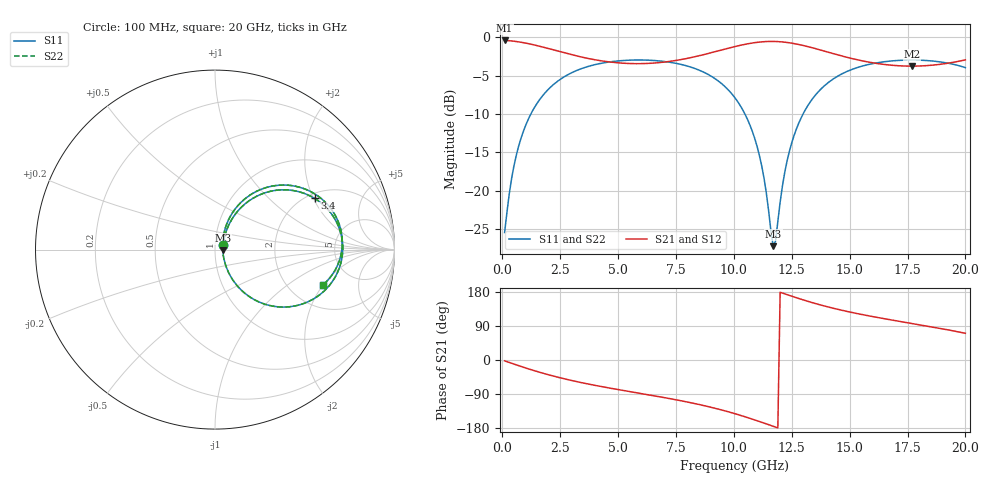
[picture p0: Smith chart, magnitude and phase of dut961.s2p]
! Touchstone file exported from HFSS 2026.1.0
!  File:  C:/ffzhzh/LocalFiles/Ansys_Project_Files/temp_train_TSV_RDL_961_1783284576_39728.aedt
!  Generated:  05:02:22 AM Jul  6, 2026
!  Design:  TSV_RDL
!  Project:  temp_train_TSV_RDL_961_1783284576_39728
! Variables:
!  h_bsmrdl = 2.4um
!  h_ox = 20um
!  h_rdl = 5um
!  h_sub = 68.82um
!  h_tmrdl = 3.19um
!  h_tsv = 68.82um
!  h_via = 3um
!  l_bsmrdl = 269.04um
!  l_sub = 5102.58um
!  l_tmrdl = 950.87um
!  m_sub = 200um
!  pitch = 58.42um
!  r_tsv = 7.72um
!  s_tmrdl = 10um
!  w_bsmrdl = 20.26um
!  w_sub = 500um
!  w_tmrdl = 10.4um
!  x_tsv_center1 = 956.07um
!  x_tsv_center2 = 1245.37um
!  x_tsv_center3 = 2206.64um
!  x_tsv_center4 = 2495.94um
!  x_tsv_center5 = 3457.21um
!  x_tsv_center6 = 3746.51um
# GHz S MA R 50.000000
! Terminal data exported
! Port[1] = TM_RDL1_1_T1
! Port[2] = TM_RDL5_1_T1
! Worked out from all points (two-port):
!   200 points, 100 MHz to 20 GHz, reference 50 ohm
!   highest |S21| = -0.41 dB at 100 MHz (marker M1); lowest = -3.8 dB at 17.7 GHz (marker M2)
!   |S21| within 3 dB of the highest: start of sweep to 5.435 GHz; 6.236 GHz to 16.18 GHz (9.941 GHz wide, 88.7 % of centre) (the widest 2 of 3)
!   lowest |S11| = -27.2 dB at 11.7 GHz (marker M3), VSWR 1.09, Z = 54.5 - j0.526 ohm
!   |S11| at or under -10 dB: start of sweep to 1.234 GHz; 10.48 GHz to 12.99 GHz (2.51 GHz wide, 21.4 % of centre)
!   |S22| runs from -27.3 to -3.0 dB; largest |S21 - S12| = 1.6e-14
!   S11 on the Smith chart (normalised r, x): 100 MHz: 1.10, +0.06; 3.4 GHz: 2.18, +2.04; 20 GHz: 3.06, -2.00
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0.1  0.05338 29.5  0.9542 -2.2  0.9542 -2.2  0.05338 29.5
! Gamma 0 0 0 0
! Port Impedance 50 0 50 0
0.5  0.1444 60.3  0.9437 -10.7  0.9437 -10.7  0.1444 60.3
1.1  0.2872 57.6  0.9115 -22.8  0.9115 -22.8  0.2872 57.6
2  0.46 45.4  0.8444 -39.1  0.8444 -39.1  0.46 45.4
3.4  0.6237 27.2  0.745 -59.5  0.745 -59.5  0.6237 27.2
3.5  0.6314 26.1  0.7393 -60.8  0.7393 -60.8  0.6314 26.1
5.1  0.7039 8.9  0.68 -79.1  0.68 -79.1  0.704 8.9
6.8  0.7012 -8.0  0.6847 -97.1  0.6847 -97.1  0.7012 -8.0
8.8  0.5825 -30.8  0.7782 -121.6  0.7782 -121.6  0.5825 -30.8
10.1  0.3936 -49.0  0.8745 -142.6  0.8745 -142.6  0.3936 -49.0
10.7  0.2668 -57.1  0.9133 -154.1  0.9133 -154.1  0.2668 -57.2
11.1  0.1709 -59.7  0.9312 -162.2  0.9312 -162.2  0.1709 -59.8
11.4  0.0974 -54.2  0.9387 -168.5  0.9387 -168.5  0.09728 -54.4
11.7  0.04351 -6.4  0.9403 -174.9  0.9403 -174.9  0.04317 -6.5
11.8  0.04703 25.7  0.9395 -177.0  0.9395 -177.0  0.04669 25.9
12.1  0.1078 61.9  0.9331 176.6  0.9331 176.6  0.1076 62.0
12.4  0.181 65.6  0.9212 170.4  0.9212 170.4  0.1809 65.7
13.4  0.3981 54.5  0.8541 151.2  0.8541 151.2  0.3981 54.6
14.7  0.5812 36.9  0.7536 130.7  0.7536 130.7  0.5811 36.9
16.7  0.6991 15.0  0.6602 106.8  0.6602 106.8  0.6991 15.0
17.7  0.7113 5.4  0.649 96.3  0.649 96.3  0.7114 5.4
20  0.6343 -17.9  0.7128 70.4  0.7128 70.4  0.6344 -17.9
